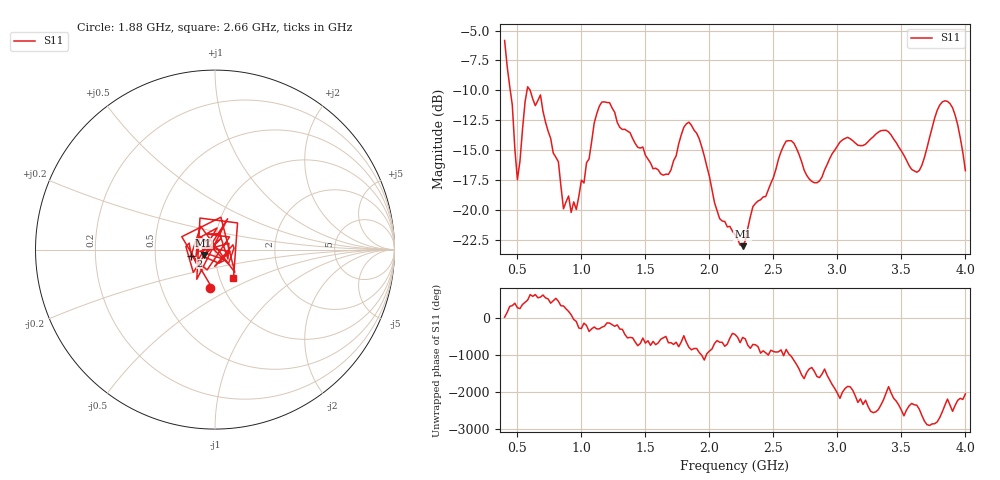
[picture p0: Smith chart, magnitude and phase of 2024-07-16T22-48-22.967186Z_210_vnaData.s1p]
!Created with skrf (http://scikit-rf.org).
# Hz S RI R 50.0
!freq ReS11 ImS11
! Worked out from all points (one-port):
!   181 points, 400 MHz to 4 GHz, reference 50 ohm
!   lowest |S11| = -23.0 dB at 2.26 GHz (marker M1), VSWR 1.15, Z = 43.9 - j2.68 ohm
!   |S11| at or under -10 dB: 444.1 MHz to 575.3 MHz (131.1 MHz wide, 25.7 % of centre); 599.6 MHz to end of sweep
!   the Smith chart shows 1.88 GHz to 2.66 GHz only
!   S11 on the Smith chart (normalised r, x): 1.88 GHz: 0.87, -0.39; 2 GHz: 0.76, -0.05; 2.66 GHz: 1.16, -0.38
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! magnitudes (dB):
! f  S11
! 400 MHz  -5.8
! 460 MHz  -11.2
! 500 MHz  -17.5
! 580 MHz  -9.7
! 680 MHz  -10.4
! 820 MHz  -16.0
! 860 MHz  -19.9
! 960 MHz  -20.0
! 1.16 GHz  -11.0
! 1.3 GHz  -13.1
! 1.64 GHz  -17.1
! 1.76 GHz  -14.5
! 1.88 GHz  -13.3
! 2 GHz  -17.2
! 2.08 GHz  -20.7
! 2.2 GHz  -22.1
! 2.26 GHz  -23.0
! 2.34 GHz  -19.7
! 2.6 GHz  -14.2
! 2.66 GHz  -14.4
! 2.84 GHz  -17.7
! 3.1 GHz  -14.1
! 3.38 GHz  -13.3
! 3.56 GHz  -16.3
! 3.64 GHz  -16.7
! 3.84 GHz  -10.9
! 3.92 GHz  -12.1
! 4 GHz  -16.7
